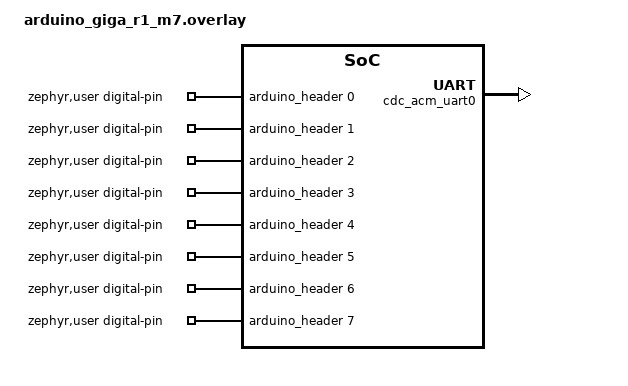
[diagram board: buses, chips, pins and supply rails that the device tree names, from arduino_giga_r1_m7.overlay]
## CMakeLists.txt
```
# LICENSE
#
# The MIT License (MIT)
#
# Copyright (c) 2020 Rohit Gujarathi https://github.com/rgujju
#
# Permission is hereby granted, free of charge, to any person obtaining a copy
# of this software and associated documentation files (the "Software"), to deal
# in the Software without restriction, including without limitation the rights
# to use, copy, modify, merge, publish, distribute, sublicense, and/or sell
# copies of the Software, and to permit persons to whom the Software is
# furnished to do so, subject to the following conditions:
#
# The above copyright notice and this permission notice shall be included in all
# copies or substantial portions of the Software.
#
# THE SOFTWARE IS PROVIDED "AS IS", WITHOUT WARRANTY OF ANY KIND, EXPRESS OR
# IMPLIED, INCLUDING BUT NOT LIMITED TO THE WARRANTIES OF MERCHANTABILITY,
# FITNESS FOR A PARTICULAR PURPOSE AND NONINFRINGEMENT. IN NO EVENT SHALL THE
# AUTHORS OR COPYRIGHT HOLDERS BE LIABLE FOR ANY CLAIM, DAMAGES OR OTHER
# LIABILITY, WHETHER IN AN ACTION OF CONTRACT, TORT OR OTHERWISE, ARISING FROM,
# OUT OF OR IN CONNECTION WITH THE SOFTWARE OR THE USE OR OTHER DEALINGS IN THE
# SOFTWARE.

cmake_minimum_required(VERSION 3.11.1)

# The project name
set(PROJECT_NAME main CACHE STRING "Name of the project")
# The project version number.
set(VERSION_MAJOR   0   CACHE STRING "Project major version number")
set(VERSION_MINOR   0   CACHE STRING "Project minor version number")
set(VERSION_PATCH   1   CACHE STRING "Project patch version number")

set(DTC_OVERLAY_FILE ${BOARD}.overlay)

#-------------------
# General Flags
#-------------------
set(OBJECT_GEN_FLAGS " \
-fno-builtin \
-Wall \
-ffunction-sections -fdata-sections \
-fomit-frame-pointer \
" CACHE INTERNAL "Common flags for C/CXX/ASM/Linker")

#-------------------
# ASMFLAGS for cross
#-------------------
set(CMAKE_ASM_FLAGS " \
-x assembler-with-cpp \
" CACHE INTERNAL "ASM Compiler options")

#-------------------
# LFLAGS for cross
#-------------------
set(CMAKE_EXE_LINKER_FLAGS " \
-Wl,-Map=${PROJECT_NAME}.map \
-Wl,--gc-sections \
" CACHE INTERNAL "Linker options")

#------------------
# Debug Flags
#------------------
set(CMAKE_C_FLAGS_DEBUG "-O0 -g -gdwarf-3 -gstrict-dwarf " CACHE INTERNAL "C Compiler options for debug build type")
set(CMAKE_CXX_FLAGS_DEBUG "-O0 -g -gdwarf-3 -gstrict-dwarf " CACHE INTERNAL "C++ Compiler options for debug build type")
set(CMAKE_ASM_FLAGS_DEBUG "-O0 -g -gdwarf-3 -gstrict-dwarf " CACHE INTERNAL "ASM Compiler options for debug build type")
set(CMAKE_EXE_LINKER_FLAGS_DEBUG "" CACHE INTERNAL "Linker options for debug build type")

#------------------
# Release Flags
#-----------------
set(CMAKE_C_FLAGS_RELEASE "-Os -flto " CACHE INTERNAL "C Compiler options for release build type")
set(CMAKE_CXX_FLAGS_RELEASE "-Os -flto " CACHE INTERNAL "C++ Compiler options for release build type")
set(CMAKE_ASM_FLAGS_RELEASE "" CACHE INTERNAL "ASM Compiler options for release build type")
set(CMAKE_EXE_LINKER_FLAGS_RELEASE "-flto " CACHE INTERNAL "Linker options for release build type")

# Control building kernel or userlib
if(USERLIB)
    set(RKERNEL __ZEPHYR_USER__=1 CONFIG_USERLIB=1)
endif()

message(STATUS "[INFO] RKERNEL is: ${RKERNEL}")

#------------------
# Modules Setup
#------------------
list(APPEND ZEPHYR_EXTRA_MODULES
    ${CMAKE_CURRENT_SOURCE_DIR}/modules/zephyr_api
    ${CMAKE_CURRENT_SOURCE_DIR}/modules/app_loader
    ${CMAKE_CURRENT_SOURCE_DIR}/modules/arduino-zephyr-extension
    )

#-------------------
# Common macros for kerne
#-------------------
set(COMPILE_DEFS
    ${RKERNEL}
    )

#-------------------
# Common macros for modules
#-------------------
set(MODULE_COMPILE_DEFS
    ${COMPILE_DEFS}
    )
set(PROJECT_BASE ${CMAKE_CURRENT_SOURCE_DIR})

find_package(Zephyr HINTS $ENV{ZEPHYR_BASE})
#include($ENV{ZEPHYR_BASE}/cmake/app/boilerplate.cmake NO_POLICY_SCOPE)

project(${PROJECT_NAME})
mark_as_advanced(VERSION_MAJOR VERSION_MINOR VERSION_PATCH)

# Define the linker script location
#set(KERNEL_LINKER_SCRIPT linker.ld)

#set(LINKER_SCRIPT "${KERNEL_LINKER_SCRIPT}")
#find_file(LINKER_SCRIPT_PATH
#    NAMES "${LINKER_SCRIPT}"
#    PATHS
#    ${CMAKE_CURRENT_LIST_DIR}
#    )

#if(DEFINED LINKER_SCRIPT_PATH)
#    message(STATUS "[INFO] Using linker file at ${LINKER_SCRIPT_PATH}")
#    string(APPEND CMAKE_EXE_LINKER_FLAGS "-T${LINKER_SCRIPT_PATH} ")
#else()
#    message(FATAL_ERROR "[ERRR] Could not find linker script ${LINKER_SCRIPT}")
#endif()

######################################################################
# @Target: Zephyr application
# @Brief: Build the kernel for the project
#         kernel is built as zephyr application
######################################################################
file(GLOB MAIN_SRC
    "src/*.c"
    )
target_include_directories(app
    PUBLIC
    ${CMAKE_CURRENT_SOURCE_DIR}/include
    modules/
    )
target_compile_definitions(app
    PUBLIC
    ${COMPILE_DEFS}
    )
target_sources(app
    PRIVATE
    ${MAIN_SRC}
    )

######################################################################
# @Target: userlib
# @Brief:  Build the userlib, this is an archive to which the app
#          will be linked
######################################################################

add_custom_target(userlib DEPENDS zephyr_api)

# Copy the sys_module lib and header files to lib folder for easy distribution
add_custom_command(TARGET userlib
    COMMAND ${CMAKE_COMMAND} -E make_directory userlib
    COMMAND ${CMAKE_COMMAND} -E copy modules/zephyr_api/libzephyr_api.a userlib/
    COMMAND ${CMAKE_COMMAND} -E copy zephyr/include/generated/zephyr_api.h userlib/
    )

######################################################################
# @Target: doc
# @Brief: Generate doxygen documentation
######################################################################
# check if Doxygen is installed
find_package(Doxygen)
if (DOXYGEN_FOUND)
    # set input and output files
    set(DOXYGEN_IN ${CMAKE_CURRENT_SOURCE_DIR}/../docs/Doxyfile.in)
    set(DOXYGEN_OUT ${CMAKE_CURRENT_BINARY_DIR}/Doxyfile)

    # exclude folders while making documentation
    # should be separated by spaces
    set(DOXYGEN_EXCLUDE_DIR "${CMAKE_CURRENT_SOURCE_DIR}/components/* ${CMAKE_CURRENT_SOURCE_DIR}/build/* ${CMAKE_CURRENT_SOURCE_DIR}/${MCU_DIR}* ${CMAKE_CURRENT_SOURCE_DIR}/apps/lib")

    # set mainpage in doxygen
    set(DOXYGEN_MAIN_PAGE "${CMAKE_CURRENT_SOURCE_DIR}/README.md")

    # request to configure the file
    configure_file(${DOXYGEN_IN} ${DOXYGEN_OUT} @ONLY)

    # Generate doxygen documentation
    # And copy to docs folder on project root so github pages can display docs
    add_custom_target(docs
        COMMAND ${DOXYGEN_EXECUTABLE} ${DOXYGEN_OUT}
        COMMAND ${CMAKE_COMMAND} -E copy_directory html ${PROJECT_SOURCE_DIR}/docs/html
        WORKING_DIRECTORY ${CMAKE_CURRENT_BINARY_DIR}
        COMMENT "Generating API documentation with Doxygen"
        VERBATIM
        )
else (DOXYGEN_FOUND)
    message("Doxygen need to be installed to generate the doxygen documentation")
endif (DOXYGEN_FOUND)

######################################################################
# @Target: clean
# @Brief:  Add more files to the clean target
######################################################################

# Add additional files to the make clean
set_property(DIRECTORY PROPERTY ADDITIONAL_MAKE_CLEAN_FILES
    "${PROJECT_NAME}.map"
    "${CMAKE_CURRENT_BINARY_DIR}/html"
    "${CMAKE_CURRENT_BINARY_DIR}/latex"
    "${CMAKE_CURRENT_BINARY_DIR}/userlib"
    "${CMAKE_CURRENT_BINARY_DIR}/libsys_module.diss"
    )
```

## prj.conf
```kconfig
CONFIG_HEAP_MEM_POOL_SIZE=8192
CONFIG_MAIN_STACK_SIZE=8192

# Enable application syscalls
CONFIG_APPLICATION_DEFINED_SYSCALL=y
CONFIG_USERSPACE=y

CONFIG_LOG=y
CONFIG_LOG_PRINTK=y
CONFIG_LOG_MODE_IMMEDIATE=y

CONFIG_STDOUT_CONSOLE=y
CONFIG_USB_DEVICE_STACK=y
CONFIG_USB_DEVICE_PRODUCT="Arduino Board"
CONFIG_USB_DEVICE_VID=0x2341
CONFIG_USB_DEVICE_PID=0x0066

CONFIG_USB_DRIVER_LOG_LEVEL_ERR=y
CONFIG_USB_DEVICE_LOG_LEVEL_ERR=y

CONFIG_SERIAL=y
CONFIG_UART_INTERRUPT_DRIVEN=y
CONFIG_UART_LINE_CTRL=y
CONFIG_USB_DEVICE_INITIALIZE_AT_BOOT=n

CONFIG_CDC_ACM_DTE_RATE_CALLBACK_SUPPORT=y
```

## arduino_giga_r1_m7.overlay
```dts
&zephyr_udc0 {
	cdc_acm_uart0 {
		compatible = "zephyr,cdc-acm-uart";
	};
};

/ {
	zephyr,user {
		digital-pin-gpios = <&arduino_header 0 0>,
				    <&arduino_header 1 0>,
				    <&arduino_header 2 0>,
				    <&arduino_header 3 0>,
				    <&arduino_header 4 0>,
				    <&arduino_header 5 0>,
				    <&arduino_header 6 0>,
				    <&arduino_header 7 0>,
				    <&arduino_header 8 0>,
				    <&arduino_header 9 0>,
				    <&arduino_header 10 0>,
				    <&arduino_header 11 0>,
				    <&arduino_header 12 0>,
				    <&arduino_header 13 0>,
				    <&arduino_header 14 0>,
				    <&arduino_header 15 0>,
				    <&arduino_header 16 0>,
				    <&arduino_header 17 0>,
				    <&arduino_header 18 0>,
				    <&arduino_header 19 0>,
				    <&arduino_header 20 0>,
				    <&arduino_header 21 0>,
				    <&arduino_header 22 0>,
				    <&arduino_header 23 0>,
				    <&arduino_header 24 0>,
				    <&arduino_header 25 0>,
				    <&arduino_header 26 0>,
				    <&arduino_header 27 0>,
				    <&arduino_header 28 0>,
				    <&arduino_header 29 0>,
				    <&arduino_header 30 0>,
				    <&arduino_header 31 0>,
				    <&arduino_header 32 0>,
				    <&arduino_header 33 0>,
				    <&arduino_header 34 0>,
				    <&arduino_header 35 0>,
				    <&arduino_header 36 0>,
				    <&arduino_header 37 0>,
				    <&arduino_header 38 0>,
				    <&arduino_header 39 0>,
				    <&arduino_header 40 0>,
				    <&arduino_header 41 0>,
				    <&arduino_header 42 0>,
				    <&arduino_header 43 0>,
				    <&arduino_header 44 0>,
				    <&arduino_header 45 0>,
				    <&arduino_header 46 0>,
				    <&arduino_header 47 0>,
				    <&arduino_header 48 0>,
				    <&arduino_header 49 0>,
				    <&arduino_header 50 0>,
				    <&arduino_header 51 0>,
				    <&arduino_header 52 0>,
				    <&arduino_header 53 0>,
				    <&arduino_header 54 0>,
				    <&arduino_header 55 0>,
				    <&arduino_header 56 0>,
				    <&arduino_header 57 0>,
				    <&arduino_header 58 0>,
				    <&arduino_header 59 0>,
				    <&arduino_header 60 0>,
				    <&arduino_header 61 0>,
				    <&arduino_header 62 0>,
				    <&arduino_header 63 0>,

		builtin-led-gpios = <&arduino_header 54 0>,
				    <&arduino_header 55 0>,
				    <&arduino_header 56 0>;

//		pwms =	<&pwm1 1 255 PWM_POLARITY_NORMAL>,
//			<&pwm1 2 255 PWM_POLARITY_NORMAL>,
//			<&pwm1 3 255 PWM_POLARITY_NORMAL>,
//			<&pwm2 0 255 PWM_POLARITY_NORMAL>,
//			<&pwm2 1 255 PWM_POLARITY_NORMAL>,
//			<&pwm2 2 255 PWM_POLARITY_NORMAL>,
//			<&pwm2 3 255 PWM_POLARITY_NORMAL>;
//
//		io-channels =	<&adc 2>,
//				<&adc 3>,
//				<&adc 6>,
//				<&adc 5>,
//				<&adc 7>,
//				<&adc 0>,
//				<&adc 4>,
//				<&adc 1>;

//		serials = <&uart0>;
//		i2cs = <&arduino_i2c>;
	};
};

//&adc {
//	#address-cells = <1>;
//	#size-cells = <0>;
//
//	channel@0 {
//		reg = <0>;
//		zephyr,gain = "ADC_GAIN_1_6";
//		zephyr,reference = "ADC_REF_INTERNAL";
//		zephyr,acquisition-time = <ADC_ACQ_TIME_DEFAULT>;
//		zephyr,input-positive = <NRF_SAADC_AIN0>; /* P0.02 */
//		zephyr,resolution = <10>;
//	};
//
//	channel@1 {
//		reg = <1>;
//		zephyr,gain = "ADC_GAIN_1_6";
//		zephyr,reference = "ADC_REF_INTERNAL";
//		zephyr,acquisition-time = <ADC_ACQ_TIME_DEFAULT>;
//		zephyr,input-positive = <NRF_SAADC_AIN1>; /* P0.03 */
//		zephyr,resolution = <10>;
//	};
//
//	channel@2 {
//		reg = <2>;
//		zephyr,gain = "ADC_GAIN_1_6";
//		zephyr,reference = "ADC_REF_INTERNAL";
//		zephyr,acquisition-time = <ADC_ACQ_TIME_DEFAULT>;
//		zephyr,input-positive = <NRF_SAADC_AIN2>; /* P0.04 */
//		zephyr,resolution = <10>;
//	};
//
//	channel@3 {
//		reg = <3>;
//		zephyr,gain = "ADC_GAIN_1_6";
//		zephyr,reference = "ADC_REF_INTERNAL";
//		zephyr,acquisition-time = <ADC_ACQ_TIME_DEFAULT>;
//		zephyr,input-positive = <NRF_SAADC_AIN3>; /* P0.05 */
//		zephyr,resolution = <10>;
//	};
//
//	channel@4 {
//		reg = <4>;
//		zephyr,gain = "ADC_GAIN_1_6";
//		zephyr,reference = "ADC_REF_INTERNAL";
//		zephyr,acquisition-time = <ADC_ACQ_TIME_DEFAULT>;
//		zephyr,input-positive = <NRF_SAADC_AIN4>; /* P0.28 */
//		zephyr,resolution = <10>;
//	};
//
//	channel@5 {
//		reg = <5>;
//		zephyr,gain = "ADC_GAIN_1_6";
//		zephyr,reference = "ADC_REF_INTERNAL";
//		zephyr,acquisition-time = <ADC_ACQ_TIME_DEFAULT>;
//		zephyr,input-positive = <NRF_SAADC_AIN5>; /* P0.29 */
//		zephyr,resolution = <10>;
//	};
//
//	channel@6 {
//		reg = <6>;
//		zephyr,gain = "ADC_GAIN_1_6";
//		zephyr,reference = "ADC_REF_INTERNAL";
//		zephyr,acquisition-time = <ADC_ACQ_TIME_DEFAULT>;
//		zephyr,input-positive = <NRF_SAADC_AIN6>; /* P0.30 */
//		zephyr,resolution = <10>;
//	};
//
//	channel@7 {
//		reg = <7>;
//		zephyr,gain = "ADC_GAIN_1_6";
//		zephyr,reference = "ADC_REF_INTERNAL";
//		zephyr,acquisition-time = <ADC_ACQ_TIME_DEFAULT>;
//		zephyr,input-positive = <NRF_SAADC_AIN7>; /* P0.31 */
//		zephyr,resolution = <10>;
//	};
//};

//&pinctrl {
//	pwm1_default: pwm1_default {
//		group1 {
//			psels = <NRF_PSEL(PWM_OUT0, 1, 9)>, /* keep original config */
//				<NRF_PSEL(PWM_OUT1, 1, 12)>,
//				<NRF_PSEL(PWM_OUT2, 1, 13)>,
//				<NRF_PSEL(PWM_OUT3, 1, 14)>;
//				nordic,invert;
//		};
//	};
//
//	pwm1_sleep: pwm1_sleep {
//		group1 {
//			psels = <NRF_PSEL(PWM_OUT0, 1, 9)>, /* keep original config */
//				<NRF_PSEL(PWM_OUT1, 1, 12)>,
//				<NRF_PSEL(PWM_OUT2, 1, 13)>,
//				<NRF_PSEL(PWM_OUT3, 1, 14)>;
//				low-power-enable;
//		};
//	};
//
//	pwm2_default: pwm2_default {
//		group1 {
//			psels = <NRF_PSEL(PWM_OUT0, 0, 13)>, /* keep original config */
//				<NRF_PSEL(PWM_OUT1, 0, 27)>,
//				<NRF_PSEL(PWM_OUT2, 1, 2)>,
//				<NRF_PSEL(PWM_OUT3, 1, 1)>;
//				nordic,invert;
//		};
//	};
//
//	pwm2_sleep: pwm2_sleep {
//		group1 {
//			psels = <NRF_PSEL(PWM_OUT0, 0, 13)>, /* keep original config */
//				<NRF_PSEL(PWM_OUT1, 0, 27)>,
//				<NRF_PSEL(PWM_OUT2, 1, 2)>,
//				<NRF_PSEL(PWM_OUT3, 1, 1)>;
//				low-power-enable;
//		};
//	};
//};
//
//&pwm1 {
//	status = "okay";
//	pinctrl-0 = <&pwm1_default>;
//	pinctrl-1 = <&pwm1_sleep>;
//	pinctrl-names = "default", "sleep";
//};
//
//&pwm2 {
//	status = "okay";
//	pinctrl-0 = <&pwm2_default>;
//	pinctrl-1 = <&pwm2_sleep>;
//	pinctrl-names = "default", "sleep";
//};
```

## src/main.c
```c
/**
 ******************************************************************************
 * @file	main.c
 * @brief	Main file
 *			Load the app and also turn on a LED
 ******************************************************************************
 * @attention
 *
 * LICENSE
 *
 * The MIT License (MIT)
 *
 * Copyright (c) 2020 Rohit Gujarathi
 *
 * Permission is hereby granted, free of charge, to any person obtaining a copy
 * of this software and associated documentation files (the "Software"), to deal
 * in the Software without restriction, including without limitation the rights
 * to use, copy, modify, merge, publish, distribute, sublicense, and/or sell
 * copies of the Software, and to permit persons to whom the Software is
 * furnished to do so, subject to the following conditions:
 *
 * The above copyright notice and this permission notice shall be included in all
 * copies or substantial portions of the Software.
 *
 * THE SOFTWARE IS PROVIDED "AS IS", WITHOUT WARRANTY OF ANY KIND, EXPRESS OR
 * IMPLIED, INCLUDING BUT NOT LIMITED TO THE WARRANTIES OF MERCHANTABILITY,
 * FITNESS FOR A PARTICULAR PURPOSE AND NONINFRINGEMENT. IN NO EVENT SHALL THE
 * AUTHORS OR COPYRIGHT HOLDERS BE LIABLE FOR ANY CLAIM, DAMAGES OR OTHER
 * LIABILITY, WHETHER IN AN ACTION OF CONTRACT, TORT OR OTHERWISE, ARISING FROM,
 * OUT OF OR IN CONNECTION WITH THE SOFTWARE OR THE USE OR OTHER DEALINGS IN THE
 * SOFTWARE.
*/

#include <zephyr/device.h>
#include <zephyr/devicetree.h>
#include <zephyr/kernel.h>
#include <zephyr/drivers/gpio.h>
#include <zephyr/logging/log.h>
// TODO: Change Log module debug level from build system
LOG_MODULE_REGISTER(main, 4);

#include "utilities.h"
#include "app_loader/app_loader.h"

#include <zephyr/device.h>
#include <zephyr/drivers/uart.h>
#include <zephyr/kernel.h>
#include <zephyr/sys/ring_buffer.h>

#include <zephyr/usb/usb_device.h>
#include <zephyr/logging/log.h>

#define LED0_NODE DT_ALIAS(led0)
#if DT_NODE_HAS_STATUS(LED0_NODE, okay)
	#if DT_PHA_HAS_CELL(LED0_NODE, gpios, flags)
		#define LED0_FLAGS	DT_GPIO_FLAGS(LED0_NODE, gpios)
	#else
		#define LED0_FLAGS	0
	#endif

#else
	#error "Unsupported board: led0 is not aliased in device tree."
#endif

static const struct gpio_dt_spec led0 = GPIO_DT_SPEC_GET(LED0_NODE, gpios);

#define RING_BUF_SIZE	(1024)

uint8_t ring_buffer[RING_BUF_SIZE];
struct ring_buf ringbuf;

static void interrupt_handler(const struct device *dev, void *user_data)
{
	ARG_UNUSED(user_data);

	while (uart_irq_update(dev) && uart_irq_is_pending(dev)) {
		if (uart_irq_rx_ready(dev)) {
			int recv_len, rb_len;
			uint8_t buffer[64];
			size_t len = MIN(ring_buf_space_get(&ringbuf),
					sizeof(buffer));

			recv_len = uart_fifo_read(dev, buffer, len);
			if (recv_len < 0) {
				LOG_ERR("Failed to read UART FIFO");
				recv_len = 0;
			};

			rb_len = ring_buf_put(&ringbuf, buffer, recv_len);
			if (rb_len < recv_len) {
				LOG_ERR("Drop %u bytes", recv_len - rb_len);
			}

			LOG_DBG("tty fifo -> ringbuf %d bytes", rb_len);
			if (rb_len) {
				uart_irq_tx_enable(dev);
			}
		}

		if (uart_irq_tx_ready(dev)) {
			uint8_t buffer[64];
			int rb_len, send_len;

			rb_len = ring_buf_get(&ringbuf, buffer, sizeof(buffer));
			if (!rb_len) {
				LOG_DBG("Ring buffer empty, disable TX IRQ");
				uart_irq_tx_disable(dev);
				continue;
			}

			send_len = uart_fifo_fill(dev, buffer, rb_len);
			if (send_len < rb_len) {
				LOG_ERR("Drop %d bytes", rb_len - send_len);
			}

			LOG_DBG("ringbuf -> tty fifo %d bytes", send_len);
		}
	}
}


#include "stm32h7xx_hal_rtc.h"

void HAL_RTCEx_BKUPWrite(RTC_HandleTypeDef * hrtc, uint32_t BackupRegister, uint32_t Data)
{
	uint32_t tmp;

	/* Check the parameters */
	assert_param(IS_RTC_BKP(BackupRegister));

	/* Point on address of first backup register */
#if defined(TAMP_BKP0R)
	tmp = (uint32_t) & (((TAMP_TypeDef *)((uint32_t)hrtc->Instance + TAMP_OFFSET))->BKP0R);
#endif /* TAMP_BKP0R */
#if defined(RTC_BKP0R)
	tmp = (uint32_t) & (hrtc->Instance->BKP0R);
#endif /* RTC_BKP0R */

	tmp += (BackupRegister * 4U);

	/* Write the specified register */
	*(__IO uint32_t *)tmp = (uint32_t)Data;
}

void on1200bpstouch(const struct device *dev, int rate) {
	RTC_HandleTypeDef RTCHandle;
	RTCHandle.Instance = RTC;
	if (rate == 1200) {
		usb_disable();
		HAL_RTCEx_BKUPWrite(&RTCHandle, RTC_BKP_DR0, 0xDF59);
		NVIC_SystemReset();
	}
}

int main(void)
{
	int ret;
	const struct device *dev;
	uint32_t baudrate, dtr = 0U;

	dev = DEVICE_DT_GET_ONE(zephyr_cdc_acm_uart);
	if (!device_is_ready(dev)) {
		LOG_ERR("CDC ACM device not ready");
		return 0;
	}

	#if defined(CONFIG_USB_DEVICE_STACK_NEXT)
	ret = enable_usb_device_next();
	#else
	ret = usb_enable(NULL);
	#endif

	if (ret != 0) {
		LOG_ERR("Failed to enable USB");
		return 0;
	}

	ring_buf_init(&ringbuf, sizeof(ring_buffer), ring_buffer);

	cdc_acm_dte_rate_callback_set(dev, on1200bpstouch);
	uart_irq_callback_set(dev, interrupt_handler);

	/* Enable rx interrupts */
	uart_irq_rx_enable(dev);

	ret = gpio_pin_configure_dt(&led0, GPIO_OUTPUT_INACTIVE | LED0_FLAGS);
	if (ret < 0) {
		return -1;
	}

	// Load the app directly from Flash
	const uint8_t *app = (const uint8_t *) 0x08060000;
	if (LoadApp(app)<0 ){
		while (1) {
			gpio_pin_set_dt(&led0, 1);
			k_usleep(100000);
			gpio_pin_set_dt(&led0, 0);
			k_usleep(100000);
		}
	}

	gpio_pin_set_dt(&led0, 1);
	return 0;
}
```

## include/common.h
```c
#ifndef _COMMON_H_
#define _COMMON_H_

#include <stdint.h>
#include <zephyr/toolchain.h>

#if CONFIG_USERLIB
#undef __syscall
#define __syscall
#endif

#endif /* _COMMON_H_ */
```

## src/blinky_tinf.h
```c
const uint8_t app[] __attribute__((aligned)) = {0x54,
0x49,0x4e,0x46,0x62,0x6c,0x69,0x6e,0x6b,0x79,0x0,
0x0,0x0,0x0,0x0,0x0,0x0,0x0,0x0,0x0,0x1,
0x0,0x2f,0x0,0x1,0x0,0x2,0x0,0xa,0x0,0x0,
0x0,0x81,0x46,0x0,0xbf,0x38,0xb5,0x0,0x21,0x8,
0x46,0x12,0x4b,0x59,0xf8,0x3,0x30,0x98,0x47,0x11,
0x4b,0x59,0xf8,0x3,0x20,0x13,0x78,0x1,0x3b,0x13,
0x70,0xf,0x4b,0x59,0xf8,0x3,0x50,0xa,0x4c,0xa8,
0x47,0x1,0x46,0xd,0x4b,0x59,0xf8,0x3,0x30,0x18,
0x70,0x9,0x4b,0x59,0xf8,0x3,0x30,0x18,0x78,0x6,
0x4b,0x59,0xf8,0x3,0x30,0x98,0x47,0x20,0x46,0x7,
0x4b,0x59,0xf8,0x3,0x30,0x98,0x47,0xeb,0xe7,0x0,
0xbf,0x40,0x42,0xf,0x0,0x4,0x0,0x0,0x0,0x18,
0x0,0x0,0x0,0x8,0x0,0x0,0x0,0xc,0x0,0x0,
0x0,0x14,0x0,0x0,0x0,0x4,0x4b,0x59,0xf8,0x3,
0x30,0x18,0x68,0xb0,0xfa,0x80,0xf0,0x40,0x9,0x18,
0x60,0x70,0x47,0x0,0xbf,0x0,0x0,0x0,0x0,0x8,
0xb5,0x2,0x4b,0x59,0xf8,0x3,0x30,0x98,0x47,0x8,
0xbd,0x10,0x0,0x0,0x0,0x2d,0xe9,0x40,0x41,0x16,
0x46,0x3,0xdf,0xbd,0xe8,0x40,0x81,0x2d,0xe9,0x40,
0x41,0xe,0x46,0x3,0xdf,0xbd,0xe8,0x40,0x81,0x4f,
0xf4,0xab,0x72,0x8,0xb5,0xff,0xf7,0xef,0xff,0x40,
0xb2,0x8,0xbd,0xf8,0x21,0xff,0xf7,0xf0,0xbf,0x1,
0x0,0x0,0x0,0x2c,0x0,0x0,0x10,0xa9,0x0,0x0,
0x0,0x81,0x0,0x0,0x0,0x30,0x0,0x0,0x10,0x69,
0x0,0x0,0x0,0xb7,0x0,0x0,0x0,0x0,0x0,0x0,
0x10,0x0,0x0,0x0,0x0,0x0,0x0,0x0,0x0,0x0,
0x0,0x0,0x0,};
```
